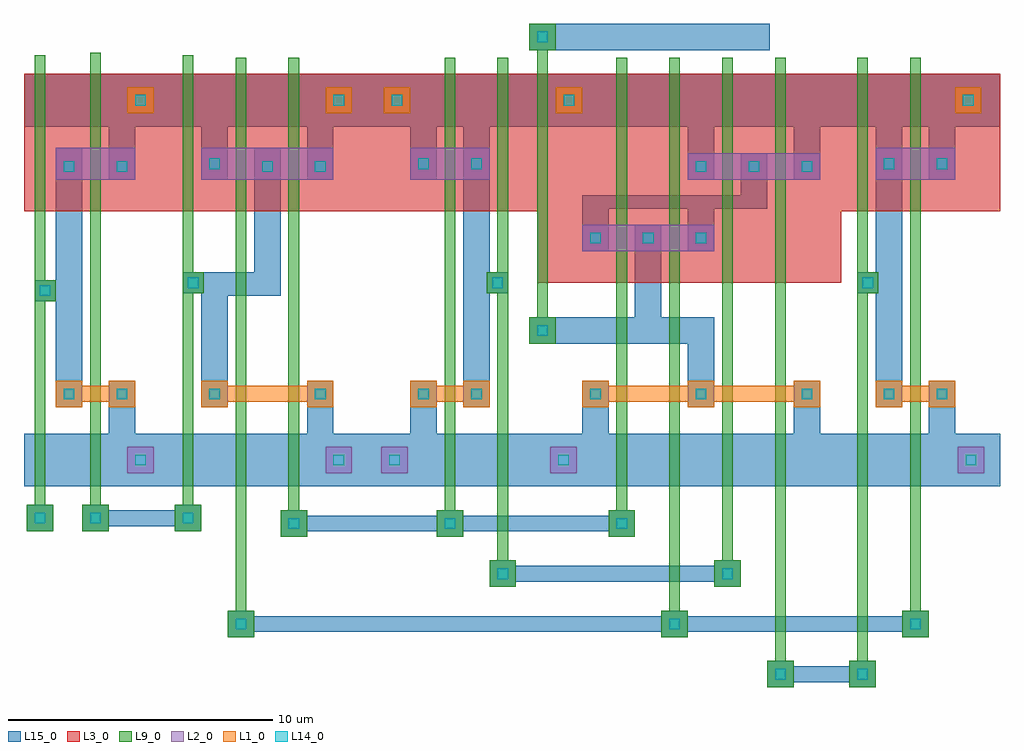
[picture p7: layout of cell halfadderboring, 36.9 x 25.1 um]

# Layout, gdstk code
import gdstk
lib = gdstk.Library(unit=1e-6, precision=1e-09)
def R(c, l, rs):  # rectangles x0, y0, x1, y1
    for r in rs: c.add(gdstk.rectangle(r[:2], r[2:], *l))
def A(c, l, x, y, w, h, nx, ny, dx, dy):  # array of equal rectangles
    R(c, l, [(x+i*dx, y+j*dy, x+i*dx+w, y+j*dy+h) for i in range(nx) for j in range(ny)])
def P(c, l, *ps):  # polygons
    for p in ps: c.add(gdstk.Polygon(p, *l))
L1_0 = (1, 0)
L2_0 = (2, 0)
L3_0 = (3, 0)
L9_0 = (9, 0)
L14_0 = (14, 0)
L15_0 = (15, 0)

halfadderboring = lib.new_cell('halfadderboring')
R(halfadderboring, L1_0, [(-19.7,9.6,-18.7,10.6), (-12.2,9.6,-11.2,10.6), (-10,9.6,-9,10.6), (-3.5,9.6,-2.5,10.6), (11.6,9.6,12.6,10.6)])
P(halfadderboring, L1_0, [(11.6,-0.5),(10.6,-0.5),(10.6,-0.7),(9.6,-0.7),(9.6,-0.5),(8.6,-0.5),(8.6,-1.5),(9.6,-1.5),(9.6,-1.3),(10.6,-1.3),(10.6,-1.5),(11.6,-1.5)],
  [(6.5,-1.5),(6.5,-0.5),(5.5,-0.5),(5.5,-0.7),(2.5,-0.7),(2.5,-0.5),(1.5,-0.5),(1.5,-0.7),(-1.5,-0.7),(-1.5,-0.5),(-2.5,-0.5),(-2.5,-1.5),(-1.5,-1.5),(-1.5,-1.3),(1.5,-1.3),(1.5,-1.5),(2.5,-1.5),(2.5,-1.3),(5.5,-1.3),(5.5,-1.5)],
  [(-9,-0.5),(-9,-1.5),(-8,-1.5),(-8,-1.3),(-7,-1.3),(-7,-1.5),(-6,-1.5),(-6,-0.5),(-7,-0.5),(-7,-0.7),(-8,-0.7),(-8,-0.5)],
  [(-11.9,-0.5),(-12.9,-0.5),(-12.9,-0.7),(-15.9,-0.7),(-15.9,-0.5),(-16.9,-0.5),(-16.9,-1.5),(-15.9,-1.5),(-15.9,-1.3),(-12.9,-1.3),(-12.9,-1.5),(-11.9,-1.5)],
  [(-19.4,-0.5),(-20.4,-0.5),(-20.4,-0.7),(-21.4,-0.7),(-21.4,-0.5),(-22.4,-0.5),(-22.4,-1.5),(-21.4,-1.5),(-21.4,-1.3),(-20.4,-1.3),(-20.4,-1.5),(-19.4,-1.5)])
R(halfadderboring, L2_0, [(-19.7,-4,-18.7,-3), (-12.2,-4,-11.2,-3), (-10.1,-4,-9.1,-3), (-3.7,-4,-2.7,-3), (11.7,-4,12.7,-3), (-2.5,4.4,2.5,5.4), (-22.4,7.1,-19.4,8.3), (-16.9,7.1,-11.9,8.3), (-9,7.1,-6,8.3), (1.5,7.1,6.5,8.1), (8.6,7.1,11.6,8.3)])
R(halfadderboring, L3_0, [(-4.2,3.2,7.3,11.1), (-23.6,5.9,-18.2,11.1), (-18.2,5.9,-10.7,11.1), (-10.7,5.9,-4.2,11.1), (7.3,5.9,13.3,11.1)])
P(halfadderboring, L9_0, [(3.5,-8.3),(3.5,-7.3),(3.2,-7.3),(3.2,11.7),(2.8,11.7),(2.8,-7.3),(2.5,-7.3),(2.5,-8.3)],
  [(9.6,-10.2),(10.6,-10.2),(10.6,-9.2),(10.3,-9.2),(10.3,11.7),(9.9,11.7),(9.9,-9.2),(9.6,-9.2)],
  [(7.6,-12.1),(8.6,-12.1),(8.6,-11.1),(8.3,-11.1),(8.3,2.8),(8.7,2.8),(8.7,3.6),(8.3,3.6),(8.3,11.7),(7.9,11.7),(7.9,-11.1),(7.6,-11.1)],
  [(5.5,-12.1),(5.5,-11.1),(5.2,-11.1),(5.2,11.7),(4.8,11.7),(4.8,-11.1),(4.5,-11.1),(4.5,-12.1)],
  [(0.5,-10.2),(1.5,-10.2),(1.5,-9.2),(1.2,-9.2),(1.2,11.7),(0.8,11.7),(0.8,-9.2),(0.5,-9.2)],
  [(-0.5,-6.4),(-0.5,-5.4),(-0.8,-5.4),(-0.8,11.7),(-1.2,11.7),(-1.2,-5.4),(-1.5,-5.4),(-1.5,-6.4)],
  [(-4.2,12),(-4.2,1.9),(-4.5,1.9),(-4.5,0.9),(-3.5,0.9),(-3.5,1.9),(-3.8,1.9),(-3.8,12),(-3.5,12),(-3.5,13),(-4.5,13),(-4.5,12)],
  [(-7,-6.4),(-7,-5.4),(-7.3,-5.4),(-7.3,11.7),(-7.7,11.7),(-7.7,-5.4),(-8,-5.4),(-8,-6.4)],
  [(-5,-8.3),(-5,-7.3),(-5.3,-7.3),(-5.3,11.7),(-5.7,11.7),(-5.7,3.6),(-6.1,3.6),(-6.1,2.8),(-5.7,2.8),(-5.7,-7.3),(-6,-7.3),(-6,-8.3)],
  [(-12.9,-6.4),(-12.9,-5.4),(-13.2,-5.4),(-13.2,11.7),(-13.6,11.7),(-13.6,-5.4),(-13.9,-5.4),(-13.9,-6.4)],
  [(-20.4,-6.2),(-20.4,-5.2),(-20.7,-5.2),(-20.7,11.9),(-21.1,11.9),(-21.1,-5.2),(-21.4,-5.2),(-21.4,-6.2)],
  [(-22.5,-6.2),(-22.5,-5.2),(-22.8,-5.2),(-22.8,2.5),(-22.4,2.5),(-22.4,3.3),(-22.8,3.3),(-22.8,11.8),(-23.2,11.8),(-23.2,-5.2),(-23.5,-5.2),(-23.5,-6.2)],
  [(-16.9,-6.2),(-16.9,-5.2),(-17.2,-5.2),(-17.2,2.8),(-16.8,2.8),(-16.8,3.6),(-17.2,3.6),(-17.2,11.8),(-17.6,11.8),(-17.6,-5.2),(-17.9,-5.2),(-17.9,-6.2)],
  [(-15.9,-10.2),(-14.9,-10.2),(-14.9,-9.2),(-15.2,-9.2),(-15.2,11.7),(-15.6,11.7),(-15.6,-9.2),(-15.9,-9.2)])
A(halfadderboring, L14_0, -2.2, -1.2, 0.4, 0.4, 3, 1, 4, 0)
A(halfadderboring, L14_0, -2.2, 4.7, 0.4, 0.4, 3, 1, 2, 0)
A(halfadderboring, L14_0, 1.8, 7.4, 0.4, 0.4, 3, 1, 2, 0)
R(halfadderboring, L14_0, [(4.8,-11.8,5.2,-11.4), (7.9,-11.8,8.3,-11.4), (-15.6,-9.9,-15.2,-9.5), (0.8,-9.9,1.2,-9.5), (9.9,-9.9,10.3,-9.5), (-5.7,-8,-5.3,-7.6), (2.8,-8,3.2,-7.6), (-13.6,-6.1,-13.2,-5.7), (-7.7,-6.1,-7.3,-5.7), (-1.2,-6.1,-0.8,-5.7), (-23.2,-5.9,-22.8,-5.5), (-21.1,-5.9,-20.7,-5.5), (-17.6,-5.9,-17.2,-5.5), (-19.4,-3.7,-19,-3.3), (-11.9,-3.7,-11.5,-3.3), (-9.8,-3.7,-9.4,-3.3), (-3.4,-3.7,-3,-3.3), (12,-3.7,12.4,-3.3), (-22.1,-1.2,-21.7,-0.8), (-20.1,-1.2,-19.7,-0.8), (-16.6,-1.2,-16.2,-0.8), (-12.6,-1.2,-12.2,-0.8), (-8.7,-1.2,-8.3,-0.8), (-6.7,-1.2,-6.3,-0.8), (8.9,-1.2,9.3,-0.8), (10.9,-1.2,11.3,-0.8), (-4.2,1.2,-3.8,1.6), (-23,2.7,-22.6,3.1), (-17.4,3,-17,3.4), (-5.9,3,-5.5,3.4), (8.1,3,8.5,3.4), (-22.1,7.4,-21.7,7.8), (-20.1,7.4,-19.7,7.8), (-14.6,7.4,-14.2,7.8), (-12.6,7.4,-12.2,7.8), (-16.6,7.5,-16.2,7.9), (-8.7,7.5,-8.3,7.9), (-6.7,7.5,-6.3,7.9), (8.9,7.5,9.3,7.9), (10.9,7.5,11.3,7.9), (-19.4,9.9,-19,10.3), (-11.9,9.9,-11.5,10.3), (-9.7,9.9,-9.3,10.3), (-3.2,9.9,-2.8,10.3), (11.9,9.9,12.3,10.3), (-4.2,12.3,-3.8,12.7)])
R(halfadderboring, L15_0, [(4.5,-12.1,5.5,-11.1), (7.6,-12.1,8.6,-11.1), (5.5,-11.9,7.6,-11.3), (-15.9,-10.2,-14.9,-9.2), (0.5,-10.2,1.5,-9.2), (9.6,-10.2,10.6,-9.2), (-14.9,-10,0.5,-9.4), (1.5,-10,9.6,-9.4), (-6,-8.3,-5,-7.3), (2.5,-8.3,3.5,-7.3), (-5,-8.1,2.5,-7.5), (-13.9,-6.4,-12.9,-5.4), (-8,-6.4,-7,-5.4), (-1.5,-6.4,-0.5,-5.4), (-23.5,-6.2,-22.5,-5.2), (-21.4,-6.2,-20.4,-5.2), (-17.9,-6.2,-16.9,-5.2), (-12.9,-6.2,-8,-5.6), (-7,-6.2,-1.5,-5.6), (-20.4,-6,-17.9,-5.4), (-4.5,12,4.6,13)])
P(halfadderboring, L15_0, [(8.6,9.1),(8.6,7.1),(9.6,7.1),(9.6,9.1),(10.6,9.1),(10.6,7.1),(11.6,7.1),(11.6,9.1),(13.3,9.1),(13.3,11.1),(7.3,11.1),(7.3,9.1)],
  [(10.6,-2.5),(7.3,-2.5),(7.3,-4.5),(13.3,-4.5),(13.3,-2.5),(11.6,-2.5),(11.6,-0.5),(10.6,-0.5)],
  [(7.9,3.6),(7.9,2.8),(8.6,2.8),(8.6,-1.5),(9.6,-1.5),(9.6,8.3),(8.6,8.3),(8.6,3.6)],
  [(2.5,-1.5),(2.5,1.9),(0.5,1.9),(0.5,5.4),(-0.5,5.4),(-0.5,1.9),(-4.5,1.9),(-4.5,0.9),(1.5,0.9),(1.5,-1.5)],
  [(-1.5,-2.5),(-1.5,-0.5),(-2.5,-0.5),(-2.5,-2.5),(-4.2,-2.5),(-4.2,-4.5),(7.3,-4.5),(7.3,-2.5),(6.5,-2.5),(6.5,-0.5),(5.5,-0.5),(5.5,-2.5)],
  [(-5.3,3.6),(-6,3.6),(-6,8.3),(-7,8.3),(-7,-1.5),(-6,-1.5),(-6,2.8),(-5.3,2.8)],
  [(-8,-2.5),(-8,-0.5),(-9,-0.5),(-9,-2.5),(-10.7,-2.5),(-10.7,-4.5),(-4.2,-4.5),(-4.2,-2.5)],
  [(-6,9.1),(-4.2,9.1),(-4.2,11.1),(-10.7,11.1),(-10.7,9.1),(-9,9.1),(-9,7.1),(-8,7.1),(-8,9.1),(-7,9.1),(-7,7.1),(-6,7.1)],
  [(3.5,8.1),(3.5,6.5),(-2.5,6.5),(-2.5,4.4),(-1.5,4.4),(-1.5,6),(1.5,6),(1.5,4.4),(2.5,4.4),(2.5,6),(4.5,6),(4.5,8.1)],
  [(-12.9,-2.5),(-18.2,-2.5),(-18.2,-4.5),(-10.7,-4.5),(-10.7,-2.5),(-11.9,-2.5),(-11.9,-0.5),(-12.9,-0.5)],
  [(-16.9,9.1),(-16.9,7.1),(-15.9,7.1),(-15.9,9.1),(-12.9,9.1),(-12.9,7.1),(-11.9,7.1),(-11.9,9.1),(-10.7,9.1),(-10.7,11.1),(-18.2,11.1),(-18.2,9.1)],
  [(-17.6,3.6),(-17.6,2.8),(-16.9,2.8),(-16.9,-1.5),(-15.9,-1.5),(-15.9,2.7),(-13.9,2.7),(-13.9,8.3),(-14.9,8.3),(-14.9,3.6)],
  [(-20.4,9.1),(-20.4,7.1),(-19.4,7.1),(-19.4,9.1),(-18.2,9.1),(-18.2,11.1),(-23.6,11.1),(-23.6,9.1)],
  [(-20.4,-2.5),(-23.6,-2.5),(-23.6,-4.5),(-18.2,-4.5),(-18.2,-2.5),(-19.4,-2.5),(-19.4,-0.5),(-20.4,-0.5)],
  [(-22.4,3.3),(-23.2,3.3),(-23.2,2.5),(-22.4,2.5),(-22.4,-1.5),(-21.4,-1.5),(-21.4,8.3),(-22.4,8.3)],
  [(6.5,9.1),(7.3,9.1),(7.3,11.1),(-4.2,11.1),(-4.2,9.1),(1.5,9.1),(1.5,7.1),(2.5,7.1),(2.5,9.1),(5.5,9.1),(5.5,7.1),(6.5,7.1)])

lib.write_gds('halfadderboring.gds')
